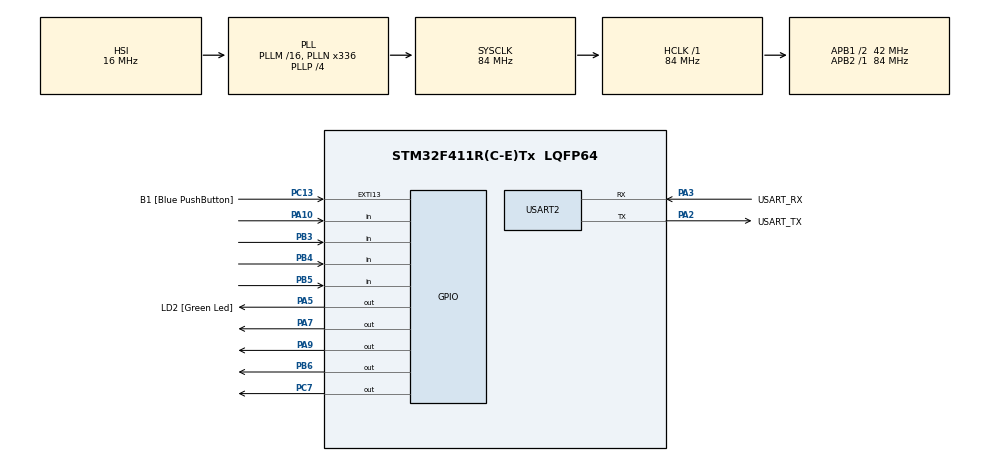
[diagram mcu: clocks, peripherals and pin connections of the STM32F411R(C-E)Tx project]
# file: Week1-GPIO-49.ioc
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Mcu.Family=STM32F4
PC15-OSC32_OUT.Mode=LSE-External-Oscillator
RCC.CortexFreq_Value=84000000
PC13-ANTI_TAMP.GPIO_Label=B1 [Blue PushButton]
PA14.GPIO_Label=TCK
PH1\ -\ OSC_OUT.Mode=HSE-External-Clock-Source
RCC.APB1CLKDivider=RCC_HCLK_DIV2
PC14-OSC32_IN.Signal=RCC_OSC32_IN
RCC.SYSCLKSource=RCC_SYSCLKSOURCE_PLLCLK
ProjectManager.StackSize=0x400
PA13.Signal=SYS_JTMS-SWDIO
PA3.Mode=Asynchronous
PH0\ -\ OSC_IN.Mode=HSE-External-Clock-Source
PH0\ -\ OSC_IN.Signal=RCC_OSC_IN
ProjectManager.TargetToolchain=STM32CubeIDE
RCC.HCLKFreq_Value=84000000
RCC.APB2TimFreq_Value=84000000
PA9.Signal=GPIO_Output
PB6.Signal=GPIO_Output
PC7.Signal=GPIO_Output
PC15-OSC32_OUT.Signal=RCC_OSC32_OUT
RCC.AHBFreq_Value=84000000
PA5.Signal=GPIO_Output
RCC.HSE_VALUE=8000000
PH1\ -\ OSC_OUT.Signal=RCC_OSC_OUT
board=NUCLEO-F411RE
PC13-ANTI_TAMP.Signal=GPXTI13
RCC.VCOOutputFreq_Value=336000000
RCC.APB2Freq_Value=84000000
PC14-OSC32_IN.Mode=LSE-External-Oscillator
PA14.Mode=Serial_Wire
PA13.Mode=Serial_Wire
Mcu.Name=STM32F411R(C-E)Tx
PA2.Signal=USART2_TX
PA13.GPIO_Label=TMS
RCC.FLatency-AdvancedSettings=FLASH_LATENCY_2
RCC.48MHZClocksFreq_Value=84000000
PB3.Signal=GPIO_Input
RCC.SYSCLKFreq_VALUE=84000000
Mcu.Package=LQFP64
PB5.Signal=GPIO_Input
PA5.GPIO_Label=LD2 [Green Led]
USART2.VirtualMode=VM_ASYNC
PC13-ANTI_TAMP.GPIO_ModeDefaultEXTI=GPIO_MODE_IT_FALLING
PA2.GPIO_Label=USART_TX
PA10.Signal=GPIO_Input
PA14.Signal=SYS_JTCK-SWCLK
ProjectManager.HeapSize=0x200
RCC.HSI_VALUE=16000000
RCC.PLLP=RCC_PLLP_DIV4
NVIC.PriorityGroup=NVIC_PRIORITYGROUP_0
RCC.PLLN=336
RCC.APB1TimFreq_Value=84000000
PA2.Mode=Asynchronous
RCC.APB1Freq_Value=42000000
PB4.Signal=GPIO_Input
PA3.GPIO_Label=USART_RX
PA3.Signal=USART2_RX
PA7.Signal=GPIO_Output

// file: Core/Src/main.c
/* USER CODE BEGIN Header */
/**
 ******************************************************************************
 * @file           : main.c
 * @brief          : Main program body
 ******************************************************************************
 * @attention
 *
 * <h2><center>&copy; Copyright (c) 2021 STMicroelectronics.
 * All rights reserved.</center></h2>
 *
 * This software component is licensed by ST under BSD 3-Clause license,
 * the "License"; You may not use this file except in compliance with the
 * License. You may obtain a copy of the License at:
 *                        opensource.org/licenses/BSD-3-Clause
 *
 ******************************************************************************
 */
/* USER CODE END Header */
#include "main.h"

UART_HandleTypeDef huart2;

void SystemClock_Config(void);
static void MX_GPIO_Init(void);
static void MX_USART2_UART_Init(void);

int main(void) {

	/* MCU Configuration--------------------------------------------------------*/

	/* Reset of all peripherals, Initializes the Flash interface and the Systick. */
	HAL_Init();

	/* Configure the system clock */
	SystemClock_Config();

	/* Initialize all configured peripherals */
	MX_GPIO_Init();
	MX_USART2_UART_Init();
	/* USER CODE BEGIN 2 */
/* ==================================================================== VARIABLE ===================================================================== */
	GPIO_PinState StateSW1[2];
	uint16_t LED1_HalfPeriod = 1000;												// LED-D1 Start at 0.5 Hz(2000 ms)
	uint32_t ButtonTimeStamp = 0;
	uint32_t TimeStamp = 0;

	GPIO_PinState StateSW2[2];

	GPIO_PinState StateSW3[2];
	uint16_t LED3_Delay = 500;													// LED-D5 Start with High 0.5 sec
	uint32_t TimeStamp2 = 0;
	uint8_t SW3counter = 1;
/* ==================================================================== VARIABLE ===================================================================== */

	/* USER CODE END 2 */

	/* Infinite loop */
	while (1)
	{

		/* USER CODE BEGIN 3 */
/* ===================================================================== LED-D1 ====================================================================== */
		if (HAL_GetTick() - ButtonTimeStamp >= 100)	//ms
		{
			ButtonTimeStamp = HAL_GetTick();
			StateSW1[0] = HAL_GPIO_ReadPin(GPIOA, GPIO_PIN_10);
			if (StateSW1[1] == GPIO_PIN_SET && StateSW1[0] == GPIO_PIN_RESET)		// if Previous State = 1, Present State  = 0
			{
				//Change Half Period of LED1
				if (LED1_HalfPeriod == 1000)										// Change Frequency to 1 Hz(500 ms per half period)
				{
					LED1_HalfPeriod = 500;
				}
				else if (LED1_HalfPeriod == 500)									// Change Frequency to 2 Hz(250 ms per half period)
				{
					LED1_HalfPeriod = 250;
				}
				else if (LED1_HalfPeriod == 250)									// Change Frequency to 3 Hz(167 ms per half period)
				{
					LED1_HalfPeriod = 167;
				}
				else																// Return to 0.5 Hz
				{
					LED1_HalfPeriod = 1000;
				}
			}
		}
		StateSW1[1] = StateSW1[0];
/* =================================================================== RUN LED-D1 ==================================================================== */
		if (HAL_GetTick() - TimeStamp >= LED1_HalfPeriod)
		{
			TimeStamp = HAL_GetTick();
			if (HAL_GPIO_ReadPin(GPIOA, GPIO_PIN_9) == GPIO_PIN_SET)
			{
				HAL_GPIO_WritePin(GPIOA, GPIO_PIN_9, GPIO_PIN_RESET);
			}
			else
			{
				HAL_GPIO_WritePin(GPIOA, GPIO_PIN_9, GPIO_PIN_SET);
			}
		}
/* ===================================================================== LED-D3 ====================================================================== */
		StateSW2[0] = HAL_GPIO_ReadPin(GPIOB, GPIO_PIN_3);
		if (StateSW2[1] == GPIO_PIN_SET && StateSW2[0] == GPIO_PIN_RESET)
		{
			if (HAL_GPIO_ReadPin(GPIOC, GPIO_PIN_7) == GPIO_PIN_SET)
			{
				HAL_GPIO_WritePin(GPIOC, GPIO_PIN_7, GPIO_PIN_RESET);
			}
			else if (HAL_GPIO_ReadPin(GPIOC, GPIO_PIN_7) == GPIO_PIN_RESET)
			{
				HAL_GPIO_WritePin(GPIOC, GPIO_PIN_7, GPIO_PIN_SET);
			}
		}
		StateSW2[1] = StateSW2[0];
/* ===================================================================== LED-D5 ====================================================================== */
		StateSW3[0] = HAL_GPIO_ReadPin(GPIOB, GPIO_PIN_5);
		if(StateSW3[1] == GPIO_PIN_SET && StateSW3[0] == GPIO_PIN_RESET)
		{
			if(SW3counter == 1)
			{
				SW3counter = 2;
				LED3_Delay = 1500;
			}
			else
			{
				SW3counter = 1;
				LED3_Delay = 500;
			}
		}
		StateSW3[1] = StateSW3[0];
/* =================================================================== RUN LED-D5 ==================================================================== */
		if(HAL_GetTick() - TimeStamp2 >= LED3_Delay)
		{
			TimeStamp2 = HAL_GetTick();
			if(SW3counter == 1)
			{
				if(HAL_GPIO_ReadPin(GPIOB, GPIO_PIN_6) == GPIO_PIN_SET)
				{
					LED3_Delay = 1500;
					HAL_GPIO_WritePin(GPIOB, GPIO_PIN_6, GPIO_PIN_RESET);
				}
				else if(HAL_GPIO_ReadPin(GPIOB, GPIO_PIN_6) == GPIO_PIN_RESET)
				{
					LED3_Delay = 500;
					HAL_GPIO_WritePin(GPIOB, GPIO_PIN_6, GPIO_PIN_SET);
				}
			}
			else if(SW3counter == 2)
			{
				if(HAL_GPIO_ReadPin(GPIOB, GPIO_PIN_6) == GPIO_PIN_SET)
				{
					LED3_Delay = 500;
					HAL_GPIO_WritePin(GPIOB, GPIO_PIN_6, GPIO_PIN_RESET);
				}
				else if(HAL_GPIO_ReadPin(GPIOB, GPIO_PIN_6) == GPIO_PIN_RESET)
				{
					LED3_Delay = 1500;
					HAL_GPIO_WritePin(GPIOB, GPIO_PIN_6, GPIO_PIN_SET);
				}
			}
		}
/* ===================================================================== FINISH ====================================================================== */
	}
	/* USER CODE END 3 */
}

void SystemClock_Config(void) {
	RCC_OscInitTypeDef RCC_OscInitStruct = { 0 };
	RCC_ClkInitTypeDef RCC_ClkInitStruct = { 0 };

	/** Configure the main internal regulator output voltage
	 */
	__HAL_RCC_PWR_CLK_ENABLE();
	__HAL_PWR_VOLTAGESCALING_CONFIG(PWR_REGULATOR_VOLTAGE_SCALE1);
	/** Initializes the RCC Oscillators according to the specified parameters
	 * in the RCC_OscInitTypeDef structure.
	 */
	RCC_OscInitStruct.OscillatorType = RCC_OSCILLATORTYPE_HSI;
	RCC_OscInitStruct.HSIState = RCC_HSI_ON;
	RCC_OscInitStruct.HSICalibrationValue = RCC_HSICALIBRATION_DEFAULT;
	RCC_OscInitStruct.PLL.PLLState = RCC_PLL_ON;
	RCC_OscInitStruct.PLL.PLLSource = RCC_PLLSOURCE_HSI;
	RCC_OscInitStruct.PLL.PLLM = 16;
	RCC_OscInitStruct.PLL.PLLN = 336;
	RCC_OscInitStruct.PLL.PLLP = RCC_PLLP_DIV4;
	RCC_OscInitStruct.PLL.PLLQ = 4;
	if (HAL_RCC_OscConfig(&RCC_OscInitStruct) != HAL_OK) {
		Error_Handler();
	}
	/** Initializes the CPU, AHB and APB buses clocks
	 */
	RCC_ClkInitStruct.ClockType = RCC_CLOCKTYPE_HCLK | RCC_CLOCKTYPE_SYSCLK
			| RCC_CLOCKTYPE_PCLK1 | RCC_CLOCKTYPE_PCLK2;
	RCC_ClkInitStruct.SYSCLKSource = RCC_SYSCLKSOURCE_PLLCLK;
	RCC_ClkInitStruct.AHBCLKDivider = RCC_SYSCLK_DIV1;
	RCC_ClkInitStruct.APB1CLKDivider = RCC_HCLK_DIV2;
	RCC_ClkInitStruct.APB2CLKDivider = RCC_HCLK_DIV1;

	if (HAL_RCC_ClockConfig(&RCC_ClkInitStruct, FLASH_LATENCY_2) != HAL_OK) {
		Error_Handler();
	}
}

static void MX_USART2_UART_Init(void) {

	huart2.Instance = USART2;
	huart2.Init.BaudRate = 115200;
	huart2.Init.WordLength = UART_WORDLENGTH_8B;
	huart2.Init.StopBits = UART_STOPBITS_1;
	huart2.Init.Parity = UART_PARITY_NONE;
	huart2.Init.Mode = UART_MODE_TX_RX;
	huart2.Init.HwFlowCtl = UART_HWCONTROL_NONE;
	huart2.Init.OverSampling = UART_OVERSAMPLING_16;
	if (HAL_UART_Init(&huart2) != HAL_OK) {
		Error_Handler();
	}

}

static void MX_GPIO_Init(void) {
	GPIO_InitTypeDef GPIO_InitStruct = { 0 };

	/* GPIO Ports Clock Enable */
	__HAL_RCC_GPIOC_CLK_ENABLE();
	__HAL_RCC_GPIOH_CLK_ENABLE();
	__HAL_RCC_GPIOA_CLK_ENABLE();
	__HAL_RCC_GPIOB_CLK_ENABLE();

	/*Configure GPIO pin Output Level */
	HAL_GPIO_WritePin(GPIOA, LD2_Pin | GPIO_PIN_7 | GPIO_PIN_9, GPIO_PIN_RESET);

	/*Configure GPIO pin Output Level */
	HAL_GPIO_WritePin(GPIOC, GPIO_PIN_7, GPIO_PIN_RESET);

	/*Configure GPIO pin Output Level */
	HAL_GPIO_WritePin(GPIOB, GPIO_PIN_6, GPIO_PIN_RESET);

	/*Configure GPIO pin : B1_Pin */
	GPIO_InitStruct.Pin = B1_Pin;
	GPIO_InitStruct.Mode = GPIO_MODE_IT_FALLING;
	GPIO_InitStruct.Pull = GPIO_NOPULL;
	HAL_GPIO_Init(B1_GPIO_Port, &GPIO_InitStruct);

	/*Configure GPIO pins : LD2_Pin PA7 PA9 */
	GPIO_InitStruct.Pin = LD2_Pin | GPIO_PIN_7 | GPIO_PIN_9;
	GPIO_InitStruct.Mode = GPIO_MODE_OUTPUT_PP;
	GPIO_InitStruct.Pull = GPIO_NOPULL;
	GPIO_InitStruct.Speed = GPIO_SPEED_FREQ_LOW;
	HAL_GPIO_Init(GPIOA, &GPIO_InitStruct);

	/*Configure GPIO pin : PC7 */
	GPIO_InitStruct.Pin = GPIO_PIN_7;
	GPIO_InitStruct.Mode = GPIO_MODE_OUTPUT_PP;
	GPIO_InitStruct.Pull = GPIO_NOPULL;
	GPIO_InitStruct.Speed = GPIO_SPEED_FREQ_LOW;
	HAL_GPIO_Init(GPIOC, &GPIO_InitStruct);

	/*Configure GPIO pin : PA10 */
	GPIO_InitStruct.Pin = GPIO_PIN_10;
	GPIO_InitStruct.Mode = GPIO_MODE_INPUT;
	GPIO_InitStruct.Pull = GPIO_NOPULL;
	HAL_GPIO_Init(GPIOA, &GPIO_InitStruct);

	/*Configure GPIO pins : PB3 PB4 PB5 */
	GPIO_InitStruct.Pin = GPIO_PIN_3 | GPIO_PIN_4 | GPIO_PIN_5;
	GPIO_InitStruct.Mode = GPIO_MODE_INPUT;
	GPIO_InitStruct.Pull = GPIO_NOPULL;
	HAL_GPIO_Init(GPIOB, &GPIO_InitStruct);

	/*Configure GPIO pin : PB6 */
	GPIO_InitStruct.Pin = GPIO_PIN_6;
	GPIO_InitStruct.Mode = GPIO_MODE_OUTPUT_PP;
	GPIO_InitStruct.Pull = GPIO_NOPULL;
	GPIO_InitStruct.Speed = GPIO_SPEED_FREQ_LOW;
	HAL_GPIO_Init(GPIOB, &GPIO_InitStruct);

}

void Error_Handler(void) {
	__disable_irq();
	while (1) {
	}
}

/************************ (C) COPYRIGHT STMicroelectronics *****END OF FILE****/
